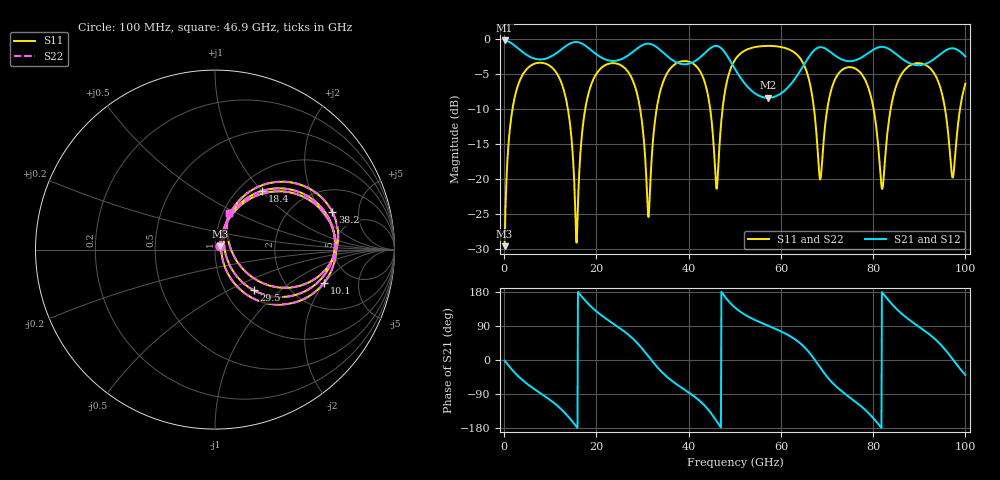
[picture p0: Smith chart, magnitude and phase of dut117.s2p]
! Touchstone file exported from HFSS 2026.1.0
!  File:  C:/ffzhzh/LocalFiles/Ansys_Project_Files/temp_train_TSV_RDL_117_1783636317_29156.aedt
!  Generated:  06:44:33 AM Jul 10, 2026
!  Design:  TSV_RDL
!  Project:  temp_train_TSV_RDL_117_1783636317_29156
! Variables:
!  h_bsmrdl = 2.37um
!  h_ox = 20um
!  h_rdl = 5um
!  h_sub = 58.83um
!  h_tmrdl = 4.76um
!  h_tsv = 58.83um
!  h_via = 3um
!  l_bsmrdl = 311.04um
!  l_sub = 3929.7um
!  l_tmrdl = 628.34um
!  m_sub = 200um
!  pitch = 52.37um
!  r_tsv = 7.72um
!  s_tmrdl = 10um
!  w_bsmrdl = 17.32um
!  w_sub = 500um
!  w_tmrdl = 10.42um
!  x_tsv_center1 = 633.55um
!  x_tsv_center2 = 961.91um
!  x_tsv_center3 = 1600.67um
!  x_tsv_center4 = 1929.03um
!  x_tsv_center5 = 2567.79um
!  x_tsv_center6 = 2896.15um
# GHz S MA R 50.000000
! Terminal data exported
! Port[1] = TM_RDL1_1_T1
! Port[2] = TM_RDL5_1_T1
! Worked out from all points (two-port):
!   1000 points, 100 MHz to 100 GHz, reference 50 ohm
!   highest |S21| = -0.24 dB at 100 MHz (marker M1); lowest = -8.4 dB at 57.2 GHz (marker M2)
!   |S21| within 3 dB of the highest: start of sweep to 36.96 GHz; 65.44 GHz to 87.15 GHz (21.71 GHz wide, 28.5 % of centre) (the widest 2 of 4)
!   lowest |S11| = -29.6 dB at 100 MHz (marker M3), VSWR 1.07, Z = 52.8 + j1.97 ohm
!   |S11| at or under -10 dB: 13.81 GHz to 17.59 GHz (3.774 GHz wide, 24 % of centre); 29.48 GHz to 33.07 GHz (3.592 GHz wide, 11.5 % of centre); 80.09 GHz to 83.81 GHz (3.721 GHz wide, 4.54 % of centre) (the widest 3 of 7)
!   |S22| runs from -29.6 to -1.0 dB; largest |S21 - S12| = 8.1e-14
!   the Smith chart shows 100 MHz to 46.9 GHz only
!   S11 on the Smith chart (normalised r, x): 100 MHz: 1.06, +0.04; 10.1 GHz: 3.14, -1.97; 18.4 GHz: 1.27, +1.01; 29.5 GHz: 1.35, -0.68; 38.2 GHz: 3.25, +2.56; 46.9 GHz: 1.07, +0.46
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0.1  0.03299 34.5  0.9732 -1.6  0.9732 -1.6  0.03299 34.5
! Gamma 0 0 0 0
! Port Impedance 50 0 50 0
2.8  0.4434 46.4  0.8667 -39.7  0.8667 -39.7  0.4434 46.4
10.1  0.6344 -17.2  0.7459 -106.8  0.7459 -106.8  0.6344 -17.2
15.6  0.03836 -20.5  0.9484 -174.4  0.9484 -174.4  0.03821 -20.6
16.8  0.1967 66.6  0.9262 167.7  0.9262 167.7  0.1967 66.6
18.4  0.4201 51.2  0.8528 146.2  0.8528 146.2  0.4201 51.2
24.1  0.668 1.8  0.6964 92.3  0.6964 92.3  0.6679 1.8
29.5  0.313 -46.4  0.883 36.1  0.883 36.1  0.3129 -46.5
31.3  0.05334 11.1  0.9231 9.3  0.9231 9.3  0.05221 11.2
33.4  0.3641 60.0  0.8552 -21.7  0.8552 -21.7  0.3639 60.2
38.2  0.6867 17.6  0.6631 -71.0  0.6631 -71.0  0.6866 17.7
46.9  0.2185 69.4  0.8649 -176.5  0.8649 -176.5  0.2188 69.4
50.1  0.7114 42.1  0.6042 137.7  0.6042 137.7  0.7115 42.1
57.2  0.89 0.1  0.3787 90.6  0.3787 90.6  0.89 0.2
66.7  0.4076 -65.3  0.7927 11.2  0.7927 11.2  0.4079 -65.0
68.6  0.09994 -10.4  0.8713 -21.4  0.8713 -21.4  0.1013 -10.5
73.7  0.6126 0.5  0.702 -87.3  0.702 -87.3  0.6126 0.5
81.9  0.08498 -8.9  0.8763 179.2  0.8763 179.2  0.08623 -8.6
83.4  0.2583 48.2  0.8471 156.8  0.8471 156.8  0.2587 48.1
93.5  0.5473 -30.3  0.7282 54.2  0.7282 54.2  0.5475 -30.1
97.2  0.102 -3.2  0.8557 2.7  0.8557 2.7  0.1043 -3.0
100  0.4777 39.8  0.7474 -39.4  0.7474 -39.4  0.4781 39.6
